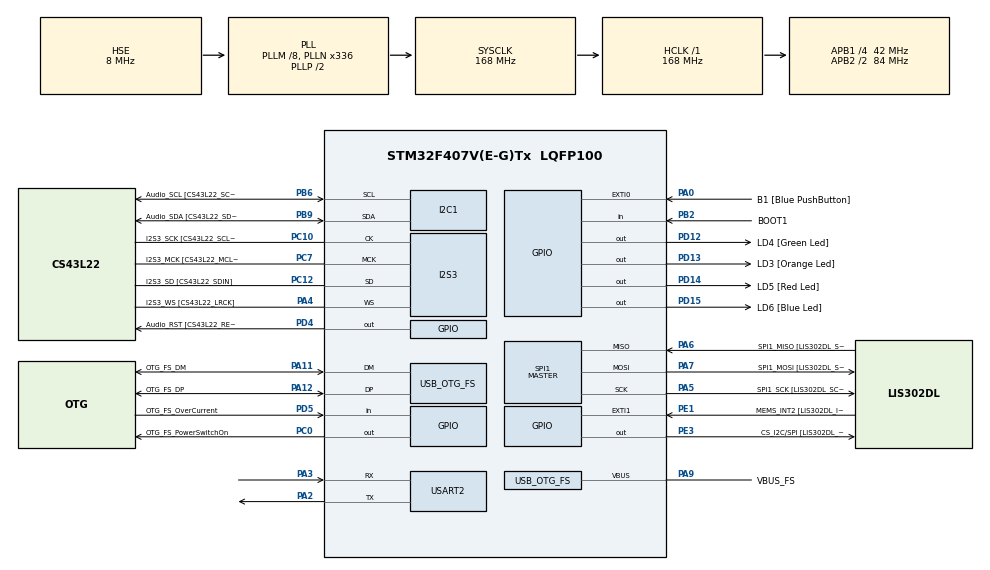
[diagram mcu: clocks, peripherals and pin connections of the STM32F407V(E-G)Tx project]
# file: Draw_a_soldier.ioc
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I2S3.AudioFreq-Half_Duplex_Master=I2S_AUDIOFREQ_96K
I2S3.ErrorAudioFreq=-2.34 %
I2S3.ErrorAudioFreq-Half_Duplex_Master=0.8 %
I2S3.FullDuplexMode=I2S_FULLDUPLEXMODE_DISABLE
I2S3.Instance=SPI$Index
I2S3.RealAudioFreq=93.75 KHz
I2S3.RealAudioFreq-Half_Duplex_Master=96.774 KHz
I2S3.VirtualMode=I2S_MODE_MASTER
Mcu.Family=STM32F4
Mcu.Name=STM32F407V(E-G)Tx
Mcu.Package=LQFP100
NVIC.OTG_FS_IRQn=true\:0\:0\:false\:false\:true\:true\:true\:true
NVIC.PriorityGroup=NVIC_PRIORITYGROUP_0
NVIC.USART2_IRQn=true\:0\:0\:false\:false\:true\:true\:true\:true
PA0-WKUP.GPIO_Label=B1 [Blue PushButton]
PA0-WKUP.GPIO_ModeDefaultEXTI=GPIO_MODE_EVT_RISING
PA0-WKUP.GPIO_PuPd=GPIO_NOPULL
PA0-WKUP.Signal=GPXTI0
PA10.GPIO_Label=OTG_FS_ID
PA10.GPIO_Mode=GPIO_MODE_AF_PP
PA10.GPIO_PuPd=GPIO_NOPULL
PA10.GPIO_Speed=GPIO_SPEED_FREQ_LOW
PA10.Signal=USB_OTG_FS_ID
PA11.GPIO_Label=OTG_FS_DM
PA11.GPIO_Mode=GPIO_MODE_AF_PP
PA11.GPIO_PuPd=GPIO_NOPULL
PA11.GPIO_Speed=GPIO_SPEED_FREQ_LOW
PA11.Mode=Host_Only
PA11.Signal=USB_OTG_FS_DM
PA12.GPIO_Label=OTG_FS_DP
PA12.GPIO_Mode=GPIO_MODE_AF_PP
PA12.GPIO_PuPd=GPIO_NOPULL
PA12.GPIO_Speed=GPIO_SPEED_FREQ_LOW
PA12.Mode=Host_Only
PA12.Signal=USB_OTG_FS_DP
PA13.GPIO_Label=SWDIO
PA13.Mode=Serial_Wire
PA13.Signal=SYS_JTMS-SWDIO
PA14.GPIO_Label=SWCLK
PA14.Mode=Serial_Wire
PA14.Signal=SYS_JTCK-SWCLK
PA2.Mode=Asynchronous
PA2.Signal=USART2_TX
PA3.Mode=Asynchronous
PA3.Signal=USART2_RX
PA4.GPIO_Label=I2S3_WS [CS43L22_LRCK]
PA4.GPIO_Mode=GPIO_MODE_AF_PP
PA4.GPIO_PuPd=GPIO_NOPULL
PA4.GPIO_Speed=GPIO_SPEED_FREQ_LOW
PA4.Mode=Half_Duplex_Master
PA4.Signal=I2S3_WS
PA5.GPIO_Label=SPI1_SCK [LIS302DL_SCL/SPC]
PA5.GPIO_Mode=GPIO_MODE_AF_PP
PA5.GPIO_PuPd=GPIO_NOPULL
PA5.GPIO_Speed=GPIO_SPEED_FREQ_LOW
PA5.Mode=Full_Duplex_Master
PA5.Signal=SPI1_SCK
PA6.GPIO_Label=SPI1_MISO [LIS302DL_SDO]
PA6.GPIO_Mode=GPIO_MODE_AF_PP
PA6.GPIO_PuPd=GPIO_NOPULL
PA6.GPIO_Speed=GPIO_SPEED_FREQ_LOW
PA6.Mode=Full_Duplex_Master
PA6.Signal=SPI1_MISO
PA7.GPIO_Label=SPI1_MOSI [LIS302DL_SDA/SDI/SDO]
PA7.GPIO_Mode=GPIO_MODE_AF_PP
PA7.GPIO_PuPd=GPIO_NOPULL
PA7.GPIO_Speed=GPIO_SPEED_FREQ_LOW
PA7.Mode=Full_Duplex_Master
PA7.Signal=SPI1_MOSI
PA9.GPIO_Label=VBUS_FS
PA9.GPIO_Mode=GPIO_MODE_INPUT
PA9.GPIO_PuPd=GPIO_NOPULL
PA9.Mode=Activate_VBUS
PA9.Signal=USB_OTG_FS_VBUS
PB10.GPIO_Label=CLK_IN [MP45DT02_CLK]
PB10.GPIO_Mode=GPIO_MODE_AF_PP
PB10.GPIO_PuPd=GPIO_NOPULL
PB10.GPIO_Speed=GPIO_SPEED_FREQ_LOW
PB10.Signal=I2S2_CK
PB2.GPIO_Label=BOOT1
PB2.GPIO_Mode=GPIO_MODE_INPUT
PB2.GPIO_PuPd=GPIO_NOPULL
PB2.Signal=GPIO_Input
PB3.GPIO_Label=SWO
PB3.Signal=SYS_JTDO-SWO
PB6.GPIO_Label=Audio_SCL [CS43L22_SCL]
PB6.GPIO_Mode=GPIO_MODE_AF_OD
PB6.GPIO_Pu=GPIO_PULLUP
PB6.GPIO_PuPd=GPIO_NOPULL
PB6.GPIO_Speed=GPIO_SPEED_FREQ_LOW
PB6.Mode=I2C
PB6.Signal=I2C1_SCL
PB9.GPIO_Label=Audio_SDA [CS43L22_SDA]
PB9.GPIO_Mode=GPIO_MODE_AF_OD
PB9.GPIO_Pu=GPIO_PULLUP
PB9.GPIO_PuPd=GPIO_NOPULL
PB9.GPIO_Speed=GPIO_SPEED_FREQ_LOW
PB9.Mode=I2C
PB9.Signal=I2C1_SDA
PC0.GPIO_Label=OTG_FS_PowerSwitchOn
PC0.GPIO_PuPd=GPIO_NOPULL
PC0.GPIO_Speed=GPIO_SPEED_FREQ_LOW
PC0.PinState=GPIO_PIN_SET
PC0.Signal=GPIO_Output
PC10.GPIO_Label=I2S3_SCK [CS43L22_SCLK]
PC10.GPIO_Mode=GPIO_MODE_AF_PP
PC10.GPIO_PuPd=GPIO_NOPULL
PC10.GPIO_Speed=GPIO_SPEED_FREQ_LOW
PC10.Mode=Half_Duplex_Master
PC10.Signal=I2S3_CK
PC12.GPIO_Label=I2S3_SD [CS43L22_SDIN]
PC12.GPIO_Mode=GPIO_MODE_AF_PP
PC12.GPIO_PuPd=GPIO_NOPULL
PC12.GPIO_Speed=GPIO_SPEED_FREQ_LOW
PC12.Mode=Half_Duplex_Master
PC12.Signal=I2S3_SD
PC14-OSC32_IN.GPIO_Label=PC14-OSC32_IN
PC14-OSC32_IN.Mode=LSE-External-Oscillator
PC14-OSC32_IN.Signal=RCC_OSC32_IN
PC15-OSC32_OUT.GPIO_Label=PC15-OSC32_OUT
PC15-OSC32_OUT.Mode=LSE-External-Oscillator
PC15-OSC32_OUT.Signal=RCC_OSC32_OUT
PC3.GPIO_Label=PDM_OUT [MP45DT02_DOUT]
PC3.GPIO_Mode=GPIO_MODE_AF_PP
PC3.GPIO_PuPd=GPIO_NOPULL
PC3.GPIO_Speed=GPIO_SPEED_FREQ_LOW
PC3.Signal=I2S2_SD
PC7.GPIO_Label=I2S3_MCK [CS43L22_MCLK]
PC7.GPIO_Mode=GPIO_MODE_AF_PP
PC7.GPIO_PuPd=GPIO_NOPULL
PC7.GPIO_Speed=GPIO_SPEED_FREQ_LOW
PC7.Mode=Master_Clock_Activated
PC7.Signal=I2S3_MCK
PD12.GPIO_Label=LD4 [Green Led]
PD12.GPIO_PuPd=GPIO_NOPULL
PD12.GPIO_Speed=GPIO_SPEED_FREQ_LOW
PD12.Signal=GPIO_Output
PD13.GPIO_Label=LD3 [Orange Led]
PD13.GPIO_PuPd=GPIO_NOPULL
PD13.GPIO_Speed=GPIO_SPEED_FREQ_LOW
PD13.Signal=GPIO_Output
PD14.GPIO_Label=LD5 [Red Led]
PD14.GPIO_PuPd=GPIO_NOPULL
PD14.GPIO_Speed=GPIO_SPEED_FREQ_LOW
PD14.Signal=GPIO_Output
PD15.GPIO_Label=LD6 [Blue Led]
PD15.GPIO_PuPd=GPIO_NOPULL
PD15.GPIO_Speed=GPIO_SPEED_FREQ_LOW
PD15.Signal=GPIO_Output
PD4.GPIO_Label=Audio_RST [CS43L22_RESET]
PD4.GPIO_PuPd=GPIO_NOPULL
PD4.GPIO_Speed=GPIO_SPEED_FREQ_LOW
PD4.Signal=GPIO_Output
PD5.GPIO_Label=OTG_FS_OverCurrent
PD5.GPIO_Mode=GPIO_MODE_INPUT
PD5.GPIO_PuPd=GPIO_NOPULL
PD5.Signal=GPIO_Input
PE1.GPIO_Label=MEMS_INT2 [LIS302DL_INT2]
PE1.GPIO_ModeDefaultEXTI=GPIO_MODE_EVT_RISING
PE1.GPIO_PuPd=GPIO_NOPULL
PE1.Signal=GPXTI1
PE3.GPIO_Label=CS_I2C/SPI [LIS302DL_CS_I2C/SPI]
PE3.GPIO_PuPd=GPIO_NOPULL
PE3.GPIO_Speed=GPIO_SPEED_FREQ_LOW
PE3.Signal=GPIO_Output
PH0-OSC_IN.GPIO_Label=PH0-OSC_IN
PH0-OSC_IN.Mode=HSE-External-Oscillator
PH0-OSC_IN.Signal=RCC_OSC_IN
PH1-OSC_OUT.GPIO_Label=PH1-OSC_OUT
PH1-OSC_OUT.Mode=HSE-External-Oscillator
PH1-OSC_OUT.Signal=RCC_OSC_OUT
ProjectManager.HeapSize=0x200
ProjectManager.StackSize=0x400
ProjectManager.TargetToolchain=STM32CubeIDE
RCC.48MHZClocksFreq_Value=48000000
RCC.AHBFreq_Value=168000000
RCC.APB1CLKDivider=RCC_HCLK_DIV4
RCC.APB1Freq_Value=42000000
RCC.APB1TimFreq_Value=84000000
RCC.APB2CLKDivider=RCC_HCLK_DIV2
RCC.APB2Freq_Value=84000000
RCC.APB2TimFreq_Value=168000000
RCC.CortexFreq_Value=168000000
RCC.HCLKFreq_Value=168000000
RCC.HSE_VALUE=8000000
RCC.HSI_VALUE=16000000
RCC.PLLM=8
RCC.PLLN=336
RCC.PLLQ=7
RCC.SYSCLKFreq_VALUE=168000000
RCC.SYSCLKSource=RCC_SYSCLKSOURCE_PLLCLK
RCC.VCOOutputFreq_Value=336000000
SPI1.BaudRatePrescaler-Full_Duplex_Master=SPI_BAUDRATEPRESCALER_2
SPI1.CalculateBaudRate-Full_Duplex_Master=42.0 MBits/s
SPI1.Direction=SPI_DIRECTION_2LINES
SPI1.Mode=SPI_MODE_MASTER
SPI1.Mode-Full_Duplex_Master=SPI_MODE_MASTER
SPI1.VirtualType=VM_MASTER
USART2.VirtualMode=VM_ASYNC
USB_HOST.BSP.number=1
USB_HOST.USBH_HandleTypeDef-CDC_FS=hUsbHostFS
USB_HOST.VirtualModeFS=Cdc
USB_HOST0.BSP.STBoard=false
USB_HOST0.BSP.api=Unknown
USB_HOST0.BSP.instance=PC0
USB_HOST0.BSP.ip=GPIO
USB_HOST0.BSP.mode=Output
USB_HOST0.BSP.name=Drive_VBUS_FS
USB_HOST0.BSP.solution=PC0
USB_OTG_FS.VirtualMode=Host_Only
USB_OTG_FS.phy_itface=HCD_PHY_EMBEDDED
VP_USB_HOST_VS_USB_HOST_CDC_FS.Mode=CDC_FS
board=STM32F407G-DISC1

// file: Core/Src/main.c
/* USER CODE BEGIN Header */
/**
  ******************************************************************************
  * @file           : main.c
  * @brief          : Main program body
  ******************************************************************************
  * @attention
  *
  * Copyright (c) 2026 STMicroelectronics.
  * All rights reserved.
  *
  * This software is licensed under terms that can be found in the LICENSE file
  * in the root directory of this software component.
  * If no LICENSE file comes with this software, it is provided AS-IS.
  *
  ******************************************************************************
  */
/* USER CODE END Header */
#include "main.h"
#include "usb_host.h"

/* USER CODE BEGIN Includes */
#include "gf_library.h"
/* USER CODE END Includes */

/* USER CODE BEGIN PD */
#include<stdio.h>
#include<string.h>
/* USER CODE END PD */

I2C_HandleTypeDef hi2c1;

I2S_HandleTypeDef hi2s3;

SPI_HandleTypeDef hspi1;

UART_HandleTypeDef huart2;

void SystemClock_Config(void);
static void MX_GPIO_Init(void);
static void MX_I2C1_Init(void);
static void MX_I2S3_Init(void);
static void MX_SPI1_Init(void);
static void MX_USART2_UART_Init(void);
void MX_USB_HOST_Process(void);

/* USER CODE BEGIN PFP */
void draw_gun(uint16_t x,uint16_t y,uint16_t color);
void draw_stickman(uint16_t x,uint16_t y,uint16_t color);
void draw_gunner(uint16_t x,uint16_t y,uint16_t color);
/* USER CODE END PFP */

/* USER CODE BEGIN 0 */
void clear_screen(uint16_t color){
	char buffer[12];
	uint8_t end[] = {0xFF,0xFF,0xFF};
	sprintf(buffer,"cls %d",color);
	HAL_UART_Transmit(&huart2,(uint8_t *)buffer,strlen(buffer),100);
	HAL_UART_Transmit(&huart2,end,3,100);
}
/* USER CODE END 0 */

int main(void)
{

  /* MCU Configuration--------------------------------------------------------*/

  /* Reset of all peripherals, Initializes the Flash interface and the Systick. */
  HAL_Init();

  /* Configure the system clock */
  SystemClock_Config();

  /* Initialize all configured peripherals */
  MX_GPIO_Init();
  MX_I2C1_Init();
  MX_I2S3_Init();
  MX_SPI1_Init();
  MX_USART2_UART_Init();
  MX_USB_HOST_Init();
  /* USER CODE BEGIN 2 */
  clear_screen(COLOR_WHITE);
  HAL_Delay(50);
  draw_stickman(60,60,COLOR_BLACK);
  draw_gun(120,60,COLOR_BLACK);
  draw_gunner(200,60,COLOR_BLACK);
  /* USER CODE END 2 */

  /* Infinite loop */
  while (1)
  {
    MX_USB_HOST_Process();

  }
}

void SystemClock_Config(void)
{
  RCC_OscInitTypeDef RCC_OscInitStruct = {0};
  RCC_ClkInitTypeDef RCC_ClkInitStruct = {0};

  /** Configure the main internal regulator output voltage
  */
  __HAL_RCC_PWR_CLK_ENABLE();
  __HAL_PWR_VOLTAGESCALING_CONFIG(PWR_REGULATOR_VOLTAGE_SCALE1);

  /** Initializes the RCC Oscillators according to the specified parameters
  * in the RCC_OscInitTypeDef structure.
  */
  RCC_OscInitStruct.OscillatorType = RCC_OSCILLATORTYPE_HSE;
  RCC_OscInitStruct.HSEState = RCC_HSE_ON;
  RCC_OscInitStruct.PLL.PLLState = RCC_PLL_ON;
  RCC_OscInitStruct.PLL.PLLSource = RCC_PLLSOURCE_HSE;
  RCC_OscInitStruct.PLL.PLLM = 8;
  RCC_OscInitStruct.PLL.PLLN = 336;
  RCC_OscInitStruct.PLL.PLLP = RCC_PLLP_DIV2;
  RCC_OscInitStruct.PLL.PLLQ = 7;
  if (HAL_RCC_OscConfig(&RCC_OscInitStruct) != HAL_OK)
  {
    Error_Handler();
  }

  /** Initializes the CPU, AHB and APB buses clocks
  */
  RCC_ClkInitStruct.ClockType = RCC_CLOCKTYPE_HCLK|RCC_CLOCKTYPE_SYSCLK
                              |RCC_CLOCKTYPE_PCLK1|RCC_CLOCKTYPE_PCLK2;
  RCC_ClkInitStruct.SYSCLKSource = RCC_SYSCLKSOURCE_PLLCLK;
  RCC_ClkInitStruct.AHBCLKDivider = RCC_SYSCLK_DIV1;
  RCC_ClkInitStruct.APB1CLKDivider = RCC_HCLK_DIV4;
  RCC_ClkInitStruct.APB2CLKDivider = RCC_HCLK_DIV2;

  if (HAL_RCC_ClockConfig(&RCC_ClkInitStruct, FLASH_LATENCY_5) != HAL_OK)
  {
    Error_Handler();
  }
}

static void MX_I2C1_Init(void)
{

  hi2c1.Instance = I2C1;
  hi2c1.Init.ClockSpeed = 100000;
  hi2c1.Init.DutyCycle = I2C_DUTYCYCLE_2;
  hi2c1.Init.OwnAddress1 = 0;
  hi2c1.Init.AddressingMode = I2C_ADDRESSINGMODE_7BIT;
  hi2c1.Init.DualAddressMode = I2C_DUALADDRESS_DISABLE;
  hi2c1.Init.OwnAddress2 = 0;
  hi2c1.Init.GeneralCallMode = I2C_GENERALCALL_DISABLE;
  hi2c1.Init.NoStretchMode = I2C_NOSTRETCH_DISABLE;
  if (HAL_I2C_Init(&hi2c1) != HAL_OK)
  {
    Error_Handler();
  }

}

static void MX_I2S3_Init(void)
{

  hi2s3.Instance = SPI3;
  hi2s3.Init.Mode = I2S_MODE_MASTER_TX;
  hi2s3.Init.Standard = I2S_STANDARD_PHILIPS;
  hi2s3.Init.DataFormat = I2S_DATAFORMAT_16B;
  hi2s3.Init.MCLKOutput = I2S_MCLKOUTPUT_ENABLE;
  hi2s3.Init.AudioFreq = I2S_AUDIOFREQ_96K;
  hi2s3.Init.CPOL = I2S_CPOL_LOW;
  hi2s3.Init.ClockSource = I2S_CLOCK_PLL;
  hi2s3.Init.FullDuplexMode = I2S_FULLDUPLEXMODE_DISABLE;
  if (HAL_I2S_Init(&hi2s3) != HAL_OK)
  {
    Error_Handler();
  }

}

static void MX_SPI1_Init(void)
{

  /* SPI1 parameter configuration*/
  hspi1.Instance = SPI1;
  hspi1.Init.Mode = SPI_MODE_MASTER;
  hspi1.Init.Direction = SPI_DIRECTION_2LINES;
  hspi1.Init.DataSize = SPI_DATASIZE_8BIT;
  hspi1.Init.CLKPolarity = SPI_POLARITY_LOW;
  hspi1.Init.CLKPhase = SPI_PHASE_1EDGE;
  hspi1.Init.NSS = SPI_NSS_SOFT;
  hspi1.Init.BaudRatePrescaler = SPI_BAUDRATEPRESCALER_2;
  hspi1.Init.FirstBit = SPI_FIRSTBIT_MSB;
  hspi1.Init.TIMode = SPI_TIMODE_DISABLE;
  hspi1.Init.CRCCalculation = SPI_CRCCALCULATION_DISABLE;
  hspi1.Init.CRCPolynomial = 10;
  if (HAL_SPI_Init(&hspi1) != HAL_OK)
  {
    Error_Handler();
  }

}

static void MX_USART2_UART_Init(void)
{

  huart2.Instance = USART2;
  huart2.Init.BaudRate = 115200;
  huart2.Init.WordLength = UART_WORDLENGTH_8B;
  huart2.Init.StopBits = UART_STOPBITS_1;
  huart2.Init.Parity = UART_PARITY_NONE;
  huart2.Init.Mode = UART_MODE_TX_RX;
  huart2.Init.HwFlowCtl = UART_HWCONTROL_NONE;
  huart2.Init.OverSampling = UART_OVERSAMPLING_16;
  if (HAL_UART_Init(&huart2) != HAL_OK)
  {
    Error_Handler();
  }

}

static void MX_GPIO_Init(void)
{
  GPIO_InitTypeDef GPIO_InitStruct = {0};

  /* GPIO Ports Clock Enable */
  __HAL_RCC_GPIOE_CLK_ENABLE();
  __HAL_RCC_GPIOC_CLK_ENABLE();
  __HAL_RCC_GPIOH_CLK_ENABLE();
  __HAL_RCC_GPIOA_CLK_ENABLE();
  __HAL_RCC_GPIOB_CLK_ENABLE();
  __HAL_RCC_GPIOD_CLK_ENABLE();

  /*Configure GPIO pin Output Level */
  HAL_GPIO_WritePin(CS_I2C_SPI_GPIO_Port, CS_I2C_SPI_Pin, GPIO_PIN_RESET);

  /*Configure GPIO pin Output Level */
  HAL_GPIO_WritePin(OTG_FS_PowerSwitchOn_GPIO_Port, OTG_FS_PowerSwitchOn_Pin, GPIO_PIN_SET);

  /*Configure GPIO pin Output Level */
  HAL_GPIO_WritePin(GPIOD, LD4_Pin|LD3_Pin|LD5_Pin|LD6_Pin
                          |Audio_RST_Pin, GPIO_PIN_RESET);

  /*Configure GPIO pin : CS_I2C_SPI_Pin */
  GPIO_InitStruct.Pin = CS_I2C_SPI_Pin;
  GPIO_InitStruct.Mode = GPIO_MODE_OUTPUT_PP;
  GPIO_InitStruct.Pull = GPIO_NOPULL;
  GPIO_InitStruct.Speed = GPIO_SPEED_FREQ_LOW;
  HAL_GPIO_Init(CS_I2C_SPI_GPIO_Port, &GPIO_InitStruct);

  /*Configure GPIO pin : OTG_FS_PowerSwitchOn_Pin */
  GPIO_InitStruct.Pin = OTG_FS_PowerSwitchOn_Pin;
  GPIO_InitStruct.Mode = GPIO_MODE_OUTPUT_PP;
  GPIO_InitStruct.Pull = GPIO_NOPULL;
  GPIO_InitStruct.Speed = GPIO_SPEED_FREQ_LOW;
  HAL_GPIO_Init(OTG_FS_PowerSwitchOn_GPIO_Port, &GPIO_InitStruct);

  /*Configure GPIO pin : PDM_OUT_Pin */
  GPIO_InitStruct.Pin = PDM_OUT_Pin;
  GPIO_InitStruct.Mode = GPIO_MODE_AF_PP;
  GPIO_InitStruct.Pull = GPIO_NOPULL;
  GPIO_InitStruct.Speed = GPIO_SPEED_FREQ_LOW;
  GPIO_InitStruct.Alternate = GPIO_AF5_SPI2;
  HAL_GPIO_Init(PDM_OUT_GPIO_Port, &GPIO_InitStruct);

  /*Configure GPIO pin : B1_Pin */
  GPIO_InitStruct.Pin = B1_Pin;
  GPIO_InitStruct.Mode = GPIO_MODE_EVT_RISING;
  GPIO_InitStruct.Pull = GPIO_NOPULL;
  HAL_GPIO_Init(B1_GPIO_Port, &GPIO_InitStruct);

  /*Configure GPIO pin : BOOT1_Pin */
  GPIO_InitStruct.Pin = BOOT1_Pin;
  GPIO_InitStruct.Mode = GPIO_MODE_INPUT;
  GPIO_InitStruct.Pull = GPIO_NOPULL;
  HAL_GPIO_Init(BOOT1_GPIO_Port, &GPIO_InitStruct);

  /*Configure GPIO pin : CLK_IN_Pin */
  GPIO_InitStruct.Pin = CLK_IN_Pin;
  GPIO_InitStruct.Mode = GPIO_MODE_AF_PP;
  GPIO_InitStruct.Pull = GPIO_NOPULL;
  GPIO_InitStruct.Speed = GPIO_SPEED_FREQ_LOW;
  GPIO_InitStruct.Alternate = GPIO_AF5_SPI2;
  HAL_GPIO_Init(CLK_IN_GPIO_Port, &GPIO_InitStruct);

  /*Configure GPIO pins : LD4_Pin LD3_Pin LD5_Pin LD6_Pin
                           Audio_RST_Pin */
  GPIO_InitStruct.Pin = LD4_Pin|LD3_Pin|LD5_Pin|LD6_Pin
                          |Audio_RST_Pin;
  GPIO_InitStruct.Mode = GPIO_MODE_OUTPUT_PP;
  GPIO_InitStruct.Pull = GPIO_NOPULL;
  GPIO_InitStruct.Speed = GPIO_SPEED_FREQ_LOW;
  HAL_GPIO_Init(GPIOD, &GPIO_InitStruct);

  /*Configure GPIO pin : OTG_FS_OverCurrent_Pin */
  GPIO_InitStruct.Pin = OTG_FS_OverCurrent_Pin;
  GPIO_InitStruct.Mode = GPIO_MODE_INPUT;
  GPIO_InitStruct.Pull = GPIO_NOPULL;
  HAL_GPIO_Init(OTG_FS_OverCurrent_GPIO_Port, &GPIO_InitStruct);

  /*Configure GPIO pin : MEMS_INT2_Pin */
  GPIO_InitStruct.Pin = MEMS_INT2_Pin;
  GPIO_InitStruct.Mode = GPIO_MODE_EVT_RISING;
  GPIO_InitStruct.Pull = GPIO_NOPULL;
  HAL_GPIO_Init(MEMS_INT2_GPIO_Port, &GPIO_InitStruct);

}

/* USER CODE BEGIN 4 */
// CLEAN CODE: A single composite object (Prefab) bound to a reference point.
// All components are shifted relative to the input (x, y) coordinates.
void draw_gun(uint16_t x,uint16_t y,uint16_t color){
	// Barrel (Adding +1 to Y to create thickness)
	Line line1= {x, y,   x+35, y, color};
	Line line2= {x, y+1, x+35, y+1, color};
	Line line3= {x, y+2, x+35, y+2, color};
	Line line4= {x, y+3, x+35, y+3, color};
	draw_line(&line1);
	draw_line(&line2);
	draw_line(&line3);
	draw_line(&line4);
	// Iron Sight
	Line line5= {x+5, y-3, x+5, y, color};
	Line line6= {x+5, y-3, x+12, y-3, color};
	Line line7= {x+12, y-3, x+12, y, color};
	draw_line(&line5);
	draw_line(&line6);
	draw_line(&line7);

	// Grip
	Line line8= {x+7, y+3, x+7, y+9, color};
	Line line9= {x+8, y+3, x+8, y+9, color};
	draw_line(&line8);
	draw_line(&line9);

	 // Magazine (Angled by manipulating X and Y offsets)
	Line line10= {x+16, y+3, x+13, y+10, color};
	Line line11= {x+17, y+3, x+14, y+10, color};
	Line line12= {x+18, y+3, x+15, y+10, color};
	Line line13= {x+19, y+3, x+16, y+10, color};
	draw_line(&line10);
	draw_line(&line11);
	draw_line(&line12);
	draw_line(&line13);
	// Trigger/Details
	Circle circle1 = {x+10,y+3,3,color};
	draw_circle(&circle1);
	// Front Sight / Flash (Triangle)
	// Note on Coordinate System: To calculate this, determine a center point.
	// E.g., if the center is 100,100, subtracting 20 from Y means going UP.
	// Subtracting 15 from X means moving LEFT because the screen's (0,0) is at the top-left.
	Triangle triangle1={x+30,y-5,x+30, y ,x+35,y,color};
	draw_triangle(&triangle1);
}

void draw_stickman(uint16_t x,uint16_t y,uint16_t color){
//x = 50 y = 60
	//head
	Circle circle1 ={x,y,6,color};
	draw_circle_fill(&circle1);
	//body
	Line body1 ={x,y+6,x,y+25,color};
	Line body2 ={x+1,y+6,x+1,y+25,color};
	draw_line(&body1);
	draw_line(&body2);
	//arm 1
	Line arm_part_1 = {x,y+8,x+4,y+19,color};
	Line arm_part_1e = {x+1,y+8,x+5,y+19,color};
	draw_line(&arm_part_1);
	draw_line(&arm_part_1e);
	//The curved section is a continuation of arm 1.
	Line arm_part_1_2 = {x+5,y+19,x+11,y+10,color};
	Line arm_part_1_2e = {x+6,y+19,x+12,y+10,color};
	draw_line(&arm_part_1_2);
	draw_line(&arm_part_1_2e);
	//arm 2
	Line arm_part_2 = {x,y+8,x+12,y+19,color};
	Line arm_part_2_1 = {x+1,y+8,x+13,y+19,color};
	draw_line(&arm_part_2);
	draw_line(&arm_part_2_1);
	//The curved part is a continuation of arm 2.
	Line arm_part_2_e={x+13,y+19,x+22,y+10,color};
	Line arm_part_2_e1={x+12,y+19,x+21,y+10,color};
	draw_line(&arm_part_2_e);
	draw_line(&arm_part_2_e1);
	//legs
	Line leg_right = {x+1,y+25,x+5,y+37,color};
	Line leg_righte = {x+2,y+25,x+6,y+37,color};
	Line leg_left ={x+1,y+25,x-4,y+37,color};
	Line leg_lefte ={x+2,y+25,x-3,y+37,color};
	draw_line(&leg_right);
	draw_line(&leg_righte);
	draw_line(&leg_left);
	draw_line(&leg_lefte);
}
//military armed drawing method
void draw_gunner(uint16_t x,uint16_t y,uint16_t color){
	draw_gun(x+2,y+5,color);
	draw_stickman(x,y,color);
}
/* USER CODE END 4 */

void Error_Handler(void)
{
  __disable_irq();
  while (1)
  {
  }
}
